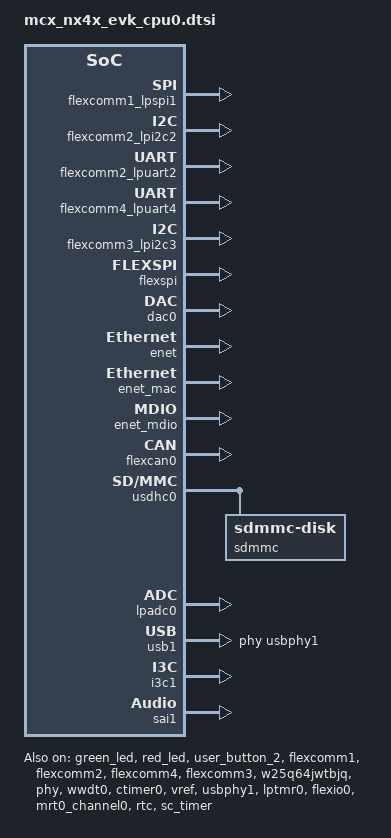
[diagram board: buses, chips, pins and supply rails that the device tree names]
/*
 * Copyright 2024-2025 NXP
 *
 * SPDX-License-Identifier: Apache-2.0
 */

/* Common dts file to enable supported features for CPU 0
 * of all derivative parts.
 */

/ {
	cpus {
		/delete-node/ cpu@1;
	};

	chosen {
		zephyr,sram = &sram0;
		zephyr,flash = &flash;
		zephyr,flash-controller = &fmu;
		zephyr,code-partition = &slot0_partition;
		zephyr,uart-mcumgr = &flexcomm4_lpuart4;
		zephyr,console = &flexcomm4_lpuart4;
		zephyr,shell-uart = &flexcomm4_lpuart4;
		zephyr,canbus = &flexcan0;
		zephyr,code-cpu1-partition = &slot1_partition;
	};

	aliases {
		watchdog0 = &wwdt0;
		pwm-1 = &sc_timer;
		rtc = &rtc;
	};
};

/*
 * Default for this board is to allocate SRAM0-5 to cpu0 but the
 * application can have an application specific device tree to
 * allocate the SRAM0-7 differently.
 *
 * For example, SRAM0-6 could be allocated to cpu0 with only SRAM7
 * for cpu1. This would require the value of sram0 to have a DT_SIZE_K
 * of 384. You would have to make updates to cpu1 sram settings as well.
 */
&sram0 {
	compatible = "mmio-sram";
	reg = <0x20000000 DT_SIZE_K(320)>;
};

&mbox {
	status = "okay";
};

&gpio4 {
	status = "okay";
};

&gpio1 {
	status = "okay";
};

&gpio0 {
	status = "okay";
};

&gpio2 {
	status = "okay";
};

&gpio3 {
	status = "okay";
};

&green_led {
	status = "okay";
};

&red_led {
	status = "okay";
};

&user_button_2 {
	status = "okay";
};

&edma0 {
	status = "okay";
};

&flexcomm1 {
	status = "okay";
};

&flexcomm1_lpspi1 {
	status = "okay";
};

&flexcomm2 {
	status = "okay";
};

&flexcomm2_lpi2c2 {
	status = "okay";
};

/*
 *LPFLEXCOMM supports UART and I2C on the same instance, enable this for
 * LFLEXCOMM2
 */
&flexcomm2_lpuart2 {
	status = "okay";
};

&flexcomm4 {
	status = "okay";
};

&flexcomm4_lpuart4 {
	status = "okay";
};

&flexcomm3 {
	status = "okay";
};

&flexcomm3_lpi2c3 {
	status = "okay";
};

&flexspi {
	status = "okay";
};

&w25q64jwtbjq {
	status = "okay";

	partitions {
		compatible = "fixed-partitions";
		#address-cells = <1>;
		#size-cells = <1>;

		storage_partition: partition@0 {
			label = "storage";
			reg = <0x0 DT_SIZE_M(8)>;
		};
	};
};

&dac0 {
	status = "okay";
};

&enet {
	status = "okay";
};

&enet_mac {
	status = "okay";
};

&enet_mdio {
	status = "okay";
};

&phy {
	status = "okay";
};

&wwdt0 {
	status = "okay";
};

&flexcan0 {
	status = "okay";
};

&ctimer0 {
	status = "okay";
};

&usdhc0 {
	status = "okay";

	sdmmc {
		compatible = "zephyr,sdmmc-disk";
		disk-name = "SD";
		status = "okay";
	};
};

&vref {
	status = "okay";
};

&lpadc0 {
	status = "okay";
};

zephyr_udc0: &usb1 {
	status = "okay";
	phy-handle = <&usbphy1>;
};

&usbphy1 {
	status = "okay";
	tx-d-cal = <4>;
	tx-cal-45-dp-ohms = <7>;
	tx-cal-45-dm-ohms = <7>;
};

&lptmr0 {
	status = "okay";
};

&i3c1 {
	status = "okay";
};

&flexio0 {
	status = "okay";
};

&mrt0_channel0 {
	status = "okay";
};

&rtc {
	status = "okay";
};

&sc_timer {
	status = "okay";
};

&sai1 {
	status = "okay";
};
